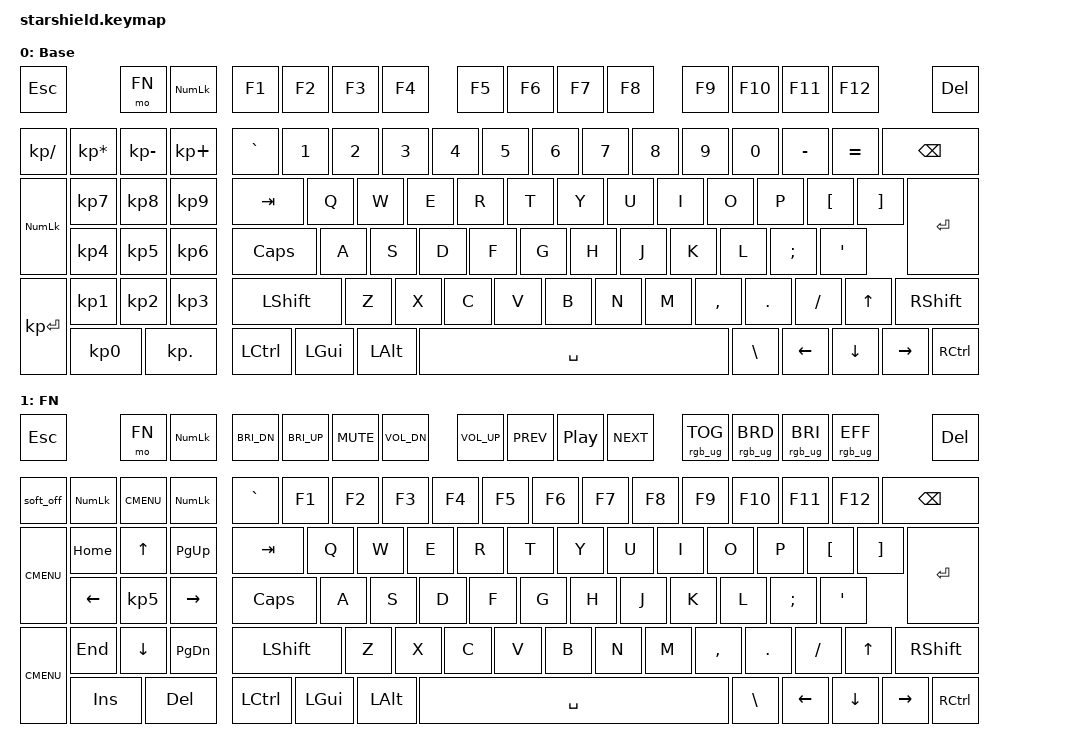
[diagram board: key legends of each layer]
/*
 * StarShield 键位映射（自动生成，请勿手改）
 *
 * 生成脚本：docs/_tools/gen_keymap.mjs
 * 位置号 = 物理顺序（0 = 键盘左上角 Esc），与 starshield_transform.dtsi 严格对应。
 * 键位布局与几何见 docs/matrix-assignment.md；本文件每层必须恰好 95 条绑定。
 */

#include <behaviors.dtsi>
#include <dt-bindings/zmk/keys.h>
#include <dt-bindings/zmk/bt.h>
#include <dt-bindings/zmk/outputs.h>
#include <dt-bindings/zmk/rgb.h>
#include <dt-bindings/zmk/ext_power.h>
#include <dt-bindings/zmk/reset.h>

#define FN 1

/ {
    keymap {
        compatible = "zmk,keymap";

        default_layer {
            display-name = "Base";
            bindings = <
                /* ----- F 行（位置 0 起）----- */
                &kp ESC              &mo FN               &kp KP_NUM           &kp F1               &kp F2               &kp F3              /*  0- 5  Esc FN NumLock F1 F2 F3 */
                &kp F4               &kp F5               &kp F6               &kp F7               &kp F8               &kp F9              /*  6-11  F4 F5 F6 F7 F8 F9 */
                /* ----- 小键盘/导航（位置 16 起）----- */
                &kp F10              &kp F11              &kp F12              &kp DEL              &kp KP_SLASH         &kp KP_ASTERISK     /* 12-17  F10 F11 F12 Del KP / KP * */
                /* ----- 数字行（位置 20 起）----- */
                &kp KP_MINUS         &kp KP_PLUS          &kp GRAVE            &kp N1               &kp N2               &kp N3              /* 18-23  KP - KP + `~ 1! 2@ 3# */
                &kp N4               &kp N5               &kp N6               &kp N7               &kp N8               &kp N9              /* 24-29  4$ 5% 6^ 7& 8* 9( */
                &kp N0               &kp MINUS            &kp EQUAL            &kp BSPC             &kp KP_NUM           &kp KP_N7           /* 30-35  0) -_ =+ Bksp KP Del KP 7 */
                /* ----- Q 行（位置 38 起）----- */
                &kp KP_N8            &kp KP_N9            &kp TAB              &kp Q                &kp W                &kp E               /* 36-41  KP 8 KP 9 Tab Q W E */
                &kp R                &kp T                &kp Y                &kp U                &kp I                &kp O               /* 42-47  R T Y U I O */
                &kp P                &kp LBKT             &kp RBKT             &kp RET              &kp KP_N4            &kp KP_N5           /* 48-53  P [{ ]} Enter KP 4 KP 5 */
                /* ----- A 行（位置 55 起）----- */
                &kp KP_N6            &kp CLCK             &kp A                &kp S                &kp D                &kp F               /* 54-59  KP 6 Caps A S D F */
                &kp G                &kp H                &kp J                &kp K                &kp L                &kp SEMI            /* 60-65  G H J K L ;: */
                /* ----- Z 行（位置 71 起）----- */
                &kp SQT              &kp KP_ENTER         &kp KP_N1            &kp KP_N2            &kp KP_N3            &kp LSHFT           /* 66-71  '" KP Ent KP 1 KP 2 KP 3 LShift */
                &kp Z                &kp X                &kp C                &kp V                &kp B                &kp N               /* 72-77  Z X C V B N */
                &kp M                &kp COMMA            &kp DOT              &kp FSLH             &kp UP               &kp RSHFT           /* 78-83  M ,< .> /? Up RShift */
                /* ----- 底行（位置 86 起）----- */
                &kp KP_N0            &kp KP_DOT           &kp LCTRL            &kp LGUI             &kp LALT             &kp SPACE           /* 84-89  KP 0 KP . LCtrl LWin LAlt Space */
                &kp BSLH             &kp LEFT             &kp DOWN             &kp RIGHT            &kp RCTRL           /* 90-94  \| Left Down Right RCtrl */
            >;
        };

        fn_layer {
            display-name = "FN";
            bindings = <
                /* ----- F 行（位置 0 起）----- */
                &kp ESC              &mo FN               &kp KP_NUM           &kp C_BRI_DN         &kp C_BRI_UP         &kp C_MUTE          /*  0- 5  Esc FN NumLock F1 F2 F3 */
                &kp C_VOL_DN         &kp C_VOL_UP         &kp C_PREV           &kp C_PLAY_PAUSE     &kp C_NEXT           &rgb_ug RGB_TOG     /*  6-11  F4 F5 F6 F7 F8 F9 */
                /* ----- 小键盘/导航（位置 16 起）----- */
                &rgb_ug RGB_BRD      &rgb_ug RGB_BRI      &rgb_ug RGB_EFF      &kp DEL              &soft_off            &kp KP_NUM          /* 12-17  F10 F11 F12 Del KP / KP * */
                /* ----- 数字行（位置 20 起）----- */
                &kp K_CMENU          &kp KP_NUM           &kp GRAVE            &kp F1               &kp F2               &kp F3              /* 18-23  KP - KP + `~ 1! 2@ 3# */
                &kp F4               &kp F5               &kp F6               &kp F7               &kp F8               &kp F9              /* 24-29  4$ 5% 6^ 7& 8* 9( */
                &kp F10              &kp F11              &kp F12              &kp BSPC             &kp K_CMENU          &kp HOME            /* 30-35  0) -_ =+ Bksp KP Del KP 7 */
                /* ----- Q 行（位置 38 起）----- */
                &kp UP               &kp PG_UP            &kp TAB              &kp Q                &kp W                &kp E               /* 36-41  KP 8 KP 9 Tab Q W E */
                &kp R                &kp T                &kp Y                &kp U                &kp I                &kp O               /* 42-47  R T Y U I O */
                &kp P                &kp LBKT             &kp RBKT             &kp RET              &kp LEFT             &kp KP_N5           /* 48-53  P [{ ]} Enter KP 4 KP 5 */
                /* ----- A 行（位置 55 起）----- */
                &kp RIGHT            &kp CLCK             &kp A                &kp S                &kp D                &kp F               /* 54-59  KP 6 Caps A S D F */
                &kp G                &kp H                &kp J                &kp K                &kp L                &kp SEMI            /* 60-65  G H J K L ;: */
                /* ----- Z 行（位置 71 起）----- */
                &kp SQT              &kp K_CMENU          &kp END              &kp DOWN             &kp PG_DN            &kp LSHFT           /* 66-71  '" KP Ent KP 1 KP 2 KP 3 LShift */
                &kp Z                &kp X                &kp C                &kp V                &kp B                &kp N               /* 72-77  Z X C V B N */
                &kp M                &kp COMMA            &kp DOT              &kp FSLH             &kp UP               &kp RSHFT           /* 78-83  M ,< .> /? Up RShift */
                /* ----- 底行（位置 86 起）----- */
                &kp INS              &kp DEL              &kp LCTRL            &kp LGUI             &kp LALT             &kp SPACE           /* 84-89  KP 0 KP . LCtrl LWin LAlt Space */
                &kp BSLH             &kp LEFT             &kp DOWN             &kp RIGHT            &kp RCTRL           /* 90-94  \| Left Down Right RCtrl */
            >;
        };
    };
};
